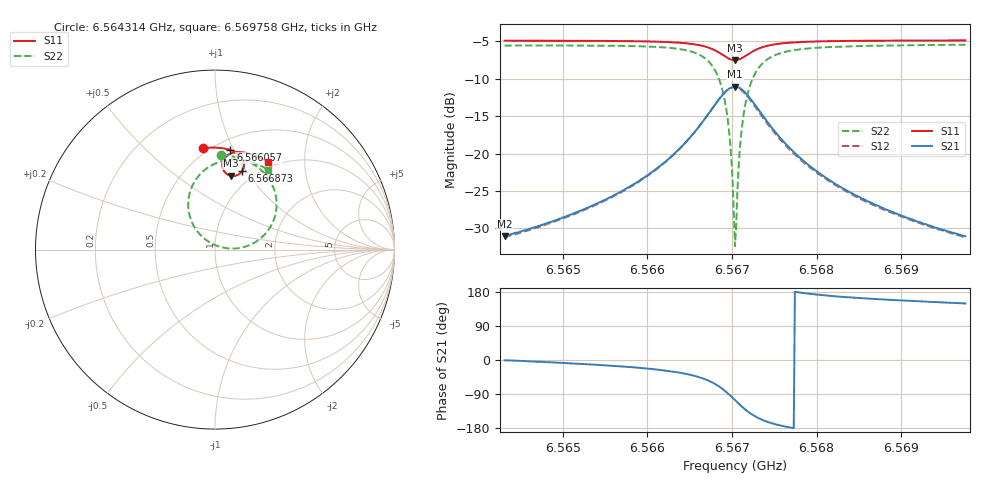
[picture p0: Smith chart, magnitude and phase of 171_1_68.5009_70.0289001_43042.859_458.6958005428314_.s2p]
#  HZ  S  RI  R  50.00
! Rohde & Schwarz Vector Network Analyzer
! Rohde-Schwarz,ZNB20-2Port,1311601062101988,3.16
! Created: UTC 3/20/2024, 4:56:11 PM
! freq[Hz]  re:S11  im:S11  re:S21  im:S21  re:S12  im:S12  re:S22  im:S22
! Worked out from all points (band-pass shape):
!   401 points, 6.564314 GHz to 6.569758 GHz, reference 50 ohm
!   highest |S21| = -11.05 dB at 6.567036 GHz (marker M1); lowest = -31.1 dB at 6.564314 GHz (marker M2)
!   |S21| within 3 dB of the highest: 6.566764 GHz to 6.567308 GHz (544.3 kHz wide, 0.00829 % of centre)
!   lowest |S11| = -7.5 dB at 6.567036 GHz (marker M3), VSWR 2.45, Z = 41.1 + j41.1 ohm
!   |S11| at or under -10 dB: nowhere
!   |S22| runs from -32.4 to -5.4 dB; largest |S21 - S12| = 0.013
!   S11 on the Smith chart (normalised r, x): 6.564314 GHz: 0.46, +0.78; 6.566057 GHz: 0.60, +0.97; 6.566873 GHz: 0.86, +0.96; 6.569758 GHz: 0.91, +1.32
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6.5643145e9  -0.0659 0.5655  0.0279 -0.000398  0.0275 -0.000746  0.0352 0.5268
6.5652263e9  0.00902 0.568  0.0411 -0.00764  0.0404 -0.00814  0.1217 0.5135
6.5660566e9  0.0862 0.555  0.069 -0.0304  0.0676 -0.0313  0.2293 0.4654
6.5661382e9  0.0949 0.552  0.0735 -0.0355  0.0723 -0.0365  0.2431 0.455
6.5664376e9  0.1294 0.5329  0.0943 -0.0679  0.0929 -0.0693  0.302 0.3907
6.5666554e9  0.1546 0.5015  0.1081 -0.1223  0.1057 -0.1248  0.3412 0.2857
6.5667779e9  0.1612 0.4705  0.1005 -0.1771  0.096 -0.1803  0.3327 0.1811
6.5668732e9  0.1521 0.439  0.0675 -0.2309  0.0598 -0.234  0.2732 0.0802
6.5669548e9  0.1265 0.4157  0.00669 -0.2685  -0.00454 -0.2683  0.1613 0.0142
6.566982e9  0.1142 0.4114  -0.0199 -0.274  -0.0318 -0.2722  0.113 0.00613
6.5670229e9  0.0944 0.4102  -0.0626 -0.2727  -0.0743 -0.2678  0.0374 0.0128
6.5670365e9  0.0876 0.4113  -0.0766 -0.2695  -0.0881 -0.2634  0.0129 0.0203
6.5670501e9  0.0811 0.413  -0.0902 -0.2648  -0.1014 -0.2578  -0.0106 0.0302
6.5670637e9  0.0748 0.4157  -0.1034 -0.2588  -0.1139 -0.2508  -0.0328 0.0423
6.5670909e9  0.0636 0.4227  -0.127 -0.2435  -0.1361 -0.2339  -0.0721 0.0725
6.5671318e9  0.0508 0.4368  -0.1547 -0.2143  -0.1611 -0.2033  -0.1157 0.1274
6.5671862e9  0.0419 0.4584  -0.1757 -0.1715  -0.1784 -0.1601  -0.145 0.2054
6.5672542e9  0.0421 0.4836  -0.1816 -0.1222  -0.1811 -0.1124  -0.1461 0.2916
6.5674992e9  0.0793 0.5313  -0.1396 -0.0276  -0.1364 -0.0235  -0.0494 0.4501
6.5679484e9  0.142 0.5431  -0.0798 0.00856  -0.0779 0.00975  0.0865 0.5003
6.5688602e9  0.2268 0.5224  -0.0387 0.0149  -0.0378 0.0153  0.2169 0.482
6.5697585e9  0.293 0.49  -0.024 0.0144  -0.0235 0.0144  0.2952 0.4455
